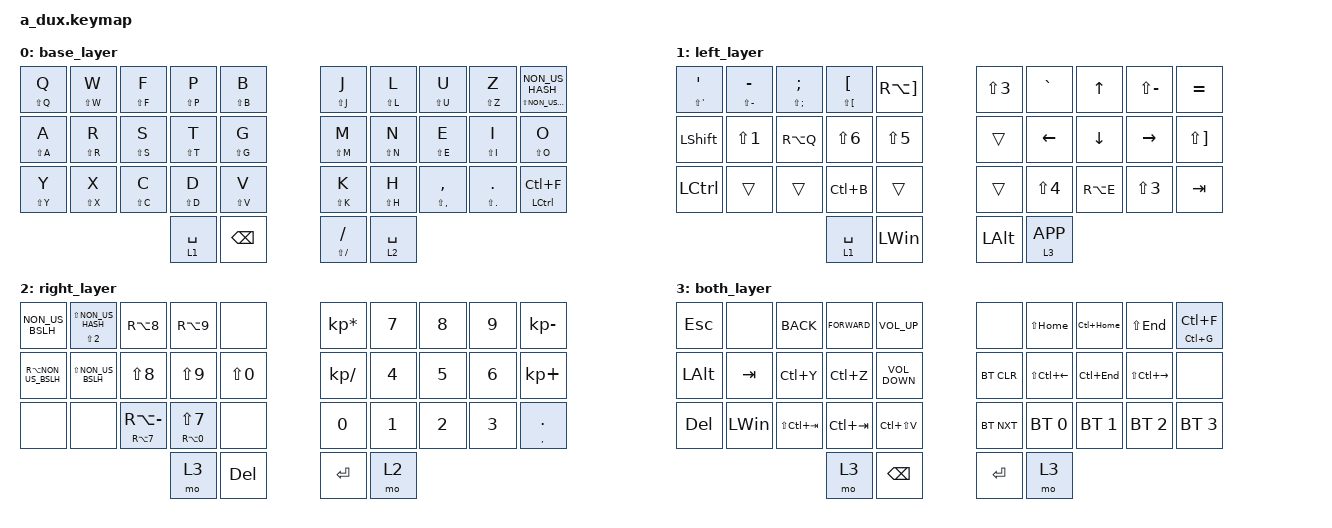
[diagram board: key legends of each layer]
/*
 * Copyright (c) 2021 The ZMK Contributors
 *
 * SPDX-License-Identifier: MIT
 */

#include <behaviors.dtsi>
#include <dt-bindings/zmk/keys.h>
#include <dt-bindings/zmk/bt.h>

#define DEFAULT 0
#define MODTIME 25

&mt {
    tapping-term-ms = <200>;
    quick_tap_ms = <150>;
};

/ {
	combos {
        compatible = "zmk,combos";
        combo_enter {
            timeout-ms = <MODTIME>;
            key-positions = <27 28>;
            bindings = <&mt LS(ENTER) ENTER>;
        };
		combo_tab {
            timeout-ms = <MODTIME>;
            key-positions = <1 2>;
            bindings = <&mt LS(TAB) TAB>;
        };
      	combo_ctl_bsp {
            timeout-ms = <MODTIME>;
            key-positions = <11 12>;
            bindings = <&kp LC(BSPC) >;
        };
        combo_end {
            timeout-ms = <MODTIME>;
            key-positions = <17 18>;
            bindings = <&kp END>;
        };
        combo_home {
            timeout-ms = <MODTIME>;
            key-positions = <16 17>;
            bindings = <&kp HOME>;
        };
        combo_next_word {
            timeout-ms = <MODTIME>;
            key-positions = <9 18>;
            bindings = <&kp LC(RIGHT) >;
        };
        combo_prev_word {
            timeout-ms = <MODTIME>;
            key-positions = <15 16>;
            bindings = <&kp LC(LEFT) >;
        };
    };

    behaviors {
 		as: auto_shift {
                compatible = "zmk,behavior-hold-tap";
                label = "AUTO_SHIFT";
                #binding-cells = <2>;
                tapping_term_ms = <150>;
                quick_tap_ms = <0>;
                flavor = "tap-preferred";
                bindings = <&kp>, <&kp>;
                hold-trigger-key-positions = <32>;

            };
    };

	keymap {
		compatible = "zmk,keymap";

		base_layer {
			bindings = <
				&as LS(Q) Q     &as LS(W) W     &as LS(F) F     &as LS(P) P     &as LS(B) B     	&as LS(J) J       &as LS(L) L     &as LS(U) U   	&as LS(Z) Z              &as LS(NON_US_HASH) NON_US_HASH 
                &as LS(A) A     &as LS(R) R     &as LS(S) S     &as LS(T) T     &as LS(G) G         &as LS(M) M         &as LS(N) N     &as LS(E) E    &as LS(I) I              &as LS(O) O
                &as LS(Y) Y     &as LS(X) X     &as LS(C) C     &as LS(D) D     &as LS(V) V         &as LS(K) K         &as LS(H) H     &as LS(COMMA) COMMA   &as LS(DOT) DOT    &mt LCTRL LC(F)
									  &lt 1 SPACE	&kp BSPC	 &as LS(FSLH)	FSLH &lt 2 SPACE
			>;
		};
 
		left_layer {
			bindings = <
				&as LS(SQT) SQT &as LS(MINUS) MINUS     &as LS(SEMI) SEMI   &as LS(LBKT) LBKT   &kp RA(RBKT)    &kp LS(N3)		&kp GRAVE 	    &kp UP     &kp LS(MINUS)    &kp EQUAL
				&kp LSHIFT		&kp LS(N1)     			&kp RA(Q)  			&kp LS(N6)  		&kp LS(N5)  	&trans     		&kp LEFT  		&kp DOWN   	&kp RIGHT     	&kp LS(RBKT)
				&kp LCTRL     	&trans     				&trans     			&kp LC(B)   		&trans    		&trans     		&kp LS(N4)  	&kp RA(E)  	&kp LS(N3)  	 &kp TAB
				                              								&lt 1 SPACE		     &kp LWIN	   &kp LALT	       &lt 3 K_APP
			>;
		};


		right_layer {
			bindings = <
				&kp NON_US_BSLH   	&as LS(N2) LS(NON_US_HASH)	&kp RA(N8)    	&kp RA(N9)     			&none     		&kp KP_ASTERISK     &kp N7     &kp N8     	&kp N9     	&kp KP_MINUS
				&kp RA(NON_US_BSLH) &kp LS(NON_US_BSLH)     	&kp LS(N8)    &kp LS(N9)     			&kp LS(N0)  	&kp KP_SLASH     	&kp N4     &kp N5     	&kp N6     	&kp KP_PLUS
				&none     			&none     			&as RA(N7) RA(MINUS) 	&as RA(N0) LS(N7) 		&none  			&kp N0 		  		&kp N1     &kp N2 		&kp N3   	&as COMMA DOT
				                            									&mo 3 					&kp DELETE		&kp ENTER   	&mo 2
			>;
		}; 

		both_layer {
			bindings = <

				&kp ESC				&none    	&kp K_BACK          &kp K_FORWARD 	&kp C_VOL_UP			&none	  		&kp LS(HOME) 		&kp LC(HOME)	&kp LS(END)			&mt LC(G) LC(F)
				&kp LALT				&kp TAB     &kp LC(Y)     		&kp LC(Z)  	 	&kp C_VOLUME_DOWN        &bt BT_CLR	  	&kp LS(LC(LEFT))	&kp LC(END)		&kp LS(LC(RIGHT))	&none
				&kp DELETE			&kp LWIN	&kp LS(LC(TAB))  	&kp LC(TAB)	 	&kp LC(LS(V))	        &bt BT_NXT	  	&bt BT_SEL 0	 	&bt BT_SEL 1	&bt BT_SEL 2	&bt BT_SEL 3
				                									&mo 3 			&kp BSPC		        &kp ENTER 		&mo 3

			>;
		};
	};
}; 
